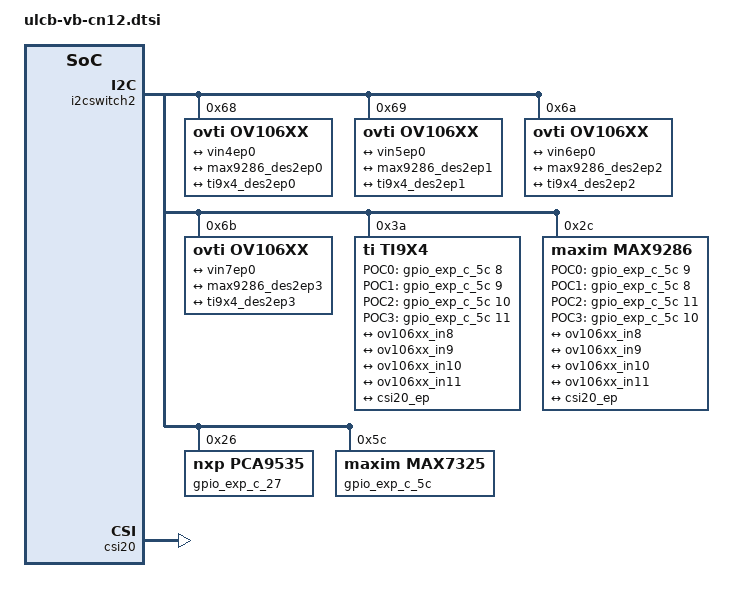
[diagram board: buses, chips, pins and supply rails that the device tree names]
/*
 * Device Tree Source for the H3ULCB Videobox board:
 *  this adding conflicting resource on VIN4/VIN5/VIN6/VIN7 for CN12
 *
 * Copyright (C) 2017 Renesas Electronics Corp.
 * Copyright (C) 2017 Cogent Embedded, Inc.
 *
 * This file is licensed under the terms of the GNU General Public License
 * version 2.  This program is licensed "as is" without any warranty of any
 * kind, whether express or implied.
 */

&i2cswitch2 {
	i2c@3 {
		#address-cells = <1>;
		#size-cells = <0>;
		reg = <3>;
		/* Slot C (CN12) */

		ov106xx@8 {
			compatible = "ovti,ov106xx";
			reg = <0x68>;

			port@0 {
				ov106xx_in8: endpoint {
					clock-lanes = <0>;
					data-lanes = <1 2>;
					remote-endpoint = <&vin4ep0>;
				};
			};
			port@1 {
				ov106xx_max9286_des2ep0: endpoint@0 {
					remote-endpoint = <&max9286_des2ep0>;
				};
				ov106xx_ti9x4_des2ep0: endpoint@1 {
					remote-endpoint = <&ti9x4_des2ep0>;
				};
			};
		};

		ov106xx@9 {
			compatible = "ovti,ov106xx";
			reg = <0x69>;

			port@0 {
				ov106xx_in9: endpoint {
					clock-lanes = <0>;
					data-lanes = <1 2>;
					remote-endpoint = <&vin5ep0>;
				};
			};
			port@1 {
				ov106xx_max9286_des2ep1: endpoint@0 {
					remote-endpoint = <&max9286_des2ep1>;
				};
				ov106xx_ti9x4_des2ep1: endpoint@1 {
					remote-endpoint = <&ti9x4_des2ep1>;
				};
			};
		};

		ov106xx@10 {
			compatible = "ovti,ov106xx";
			reg = <0x6a>;

			port@0 {
				ov106xx_in10: endpoint {
					clock-lanes = <0>;
					data-lanes = <1 2>;
					remote-endpoint = <&vin6ep0>;
				};
			};
			port@1 {
				ov106xx_max9286_des2ep2: endpoint@0 {
					remote-endpoint = <&max9286_des2ep2>;
				};
				ov106xx_ti9x4_des2ep2: endpoint@1 {
					remote-endpoint = <&ti9x4_des2ep2>;
				};
			};
		};

		ov106xx@11 {
			compatible = "ovti,ov106xx";
			reg = <0x6b>;

			port@0 {
				ov106xx_in11: endpoint {
					clock-lanes = <0>;
					data-lanes = <1 2>;
					remote-endpoint = <&vin7ep0>;
				};
			};
			port@1 {
				ov106xx_max9286_des2ep3: endpoint@0 {
					remote-endpoint = <&max9286_des2ep3>;
				};
				ov106xx_ti9x4_des2ep3: endpoint@1 {
					remote-endpoint = <&ti9x4_des2ep3>;
				};
			};
		};

		/* DS90UB9x4 @ 0x3a */
		ti9x4@2 {
			compatible = "ti,ti9x4";
			reg = <0x3a>;
			ti,sensor_delay = <350>;
			ti,links = <4>;
			ti,lanes = <2>;
			ti,forwarding-mode = "round-robin";
			ti,cable-mode = "coax";

			POC0-gpios = <&gpio_exp_c_5c 8 GPIO_ACTIVE_HIGH>;
			POC1-gpios = <&gpio_exp_c_5c 9 GPIO_ACTIVE_HIGH>;
			POC2-gpios = <&gpio_exp_c_5c 10 GPIO_ACTIVE_HIGH>;
			POC3-gpios = <&gpio_exp_c_5c 11 GPIO_ACTIVE_HIGH>;

			port@0 {
				ti9x4_des2ep0: endpoint@0 {
					ti9x3-addr = <0x0c>;
					dvp-order = <0>;
					remote-endpoint = <&ov106xx_in8>;
				};
				ti9x4_des2ep1: endpoint@1 {
					ti9x3-addr = <0x0d>;
					dvp-order = <0>;
					remote-endpoint = <&ov106xx_in9>;
				};
				ti9x4_des2ep2: endpoint@2 {
					ti9x3-addr = <0x0e>;
					dvp-order = <0>;
					remote-endpoint = <&ov106xx_in10>;
				};
				ti9x4_des2ep3: endpoint@3 {
					ti9x3-addr = <0x0f>;
					dvp-order = <0>;
					remote-endpoint = <&ov106xx_in11>;
				};
			};
			port@1 {
				ti9x4_csi1ep0: endpoint {
					csi-rate = <1450>;
					remote-endpoint = <&csi20_ep>;
				};
			};
		};

		/* MAX9286 @ 0x2c */
		max9286@2 {
			compatible = "maxim,max9286";
			reg = <0x2c>;
			maxim,sensor_delay = <350>;
			maxim,links = <4>;
			maxim,lanes = <2>;
			maxim,resetb-gpio = <1>;
			maxim,fsync-mode = "automatic";
			maxim,timeout = <100>;

			POC0-gpios = <&gpio_exp_c_5c 9 GPIO_ACTIVE_HIGH>;
			POC1-gpios = <&gpio_exp_c_5c 8 GPIO_ACTIVE_HIGH>;
			POC2-gpios = <&gpio_exp_c_5c 11 GPIO_ACTIVE_HIGH>;
			POC3-gpios = <&gpio_exp_c_5c 10 GPIO_ACTIVE_HIGH>;

			port@0 {
				max9286_des2ep0: endpoint@0 {
					max9271-addr = <0x50>;
					dvp-order = <1>;
					remote-endpoint = <&ov106xx_in8>;
				};
				max9286_des2ep1: endpoint@1 {
					max9271-addr = <0x51>;
					dvp-order = <1>;
					remote-endpoint = <&ov106xx_in9>;
				};
				max9286_des2ep2: endpoint@2 {
					max9271-addr = <0x52>;
					dvp-order = <1>;
					remote-endpoint = <&ov106xx_in10>;
				};
				max9286_des2ep3: endpoint@3 {
					max9271-addr = <0x53>;
					dvp-order = <1>;
					remote-endpoint = <&ov106xx_in11>;
				};
			};
			port@1 {
				max9286_csi1ep0: endpoint {
					csi-rate = <700>;
					remote-endpoint = <&csi20_ep>;
				};
			};
		};
	};

	i2c@4 {
		#address-cells = <1>;
		#size-cells = <0>;
		reg = <4>;
		/* Slot C (CN12) */

		/* PCA9535 is a redundand/deprecated card */
		gpio_exp_c_27: gpio@27 {
			compatible = "nxp,pca9535";
			reg = <0x26>;
			gpio-controller;
			#gpio-cells = <2>;

			video_c_des_cfg1 {
				gpio-hog;
				gpios = <5 GPIO_ACTIVE_HIGH>;
				input;
				line-name = "Video-C cfg1";
			};
			video_c_des_cfg0 {
				gpio-hog;
				gpios = <6 GPIO_ACTIVE_HIGH>;
				input;
				line-name = "Video-C cfg0";
			};
			video_c_pwr_shdn {
				gpio-hog;
				gpios = <3 GPIO_ACTIVE_HIGH>;
				output-high;
				line-name = "Video-C PWR_SHDN";
			};
			video_c_cam_pwr0 {
				gpio-hog;
				gpios = <12 GPIO_ACTIVE_HIGH>;
				output-high;
				line-name = "Video-C PWR0";
			};
			video_c_cam_pwr1 {
				gpio-hog;
				gpios = <13 GPIO_ACTIVE_HIGH>;
				output-high;
				line-name = "Video-C PWR1";
			};
			video_c_cam_pwr2 {
				gpio-hog;
				gpios = <14 GPIO_ACTIVE_HIGH>;
				output-high;
				line-name = "Video-C PWR2";
			};
			video_c_cam_pwr3 {
				gpio-hog;
				gpios = <15 GPIO_ACTIVE_HIGH>;
				output-high;
				line-name = "Video-C PWR3";
			};
			video_c_des_shdn {
				gpio-hog;
				gpios = <4 GPIO_ACTIVE_HIGH>;
				output-high;
				line-name = "Video-C DES_SHDN";
			};
			video_c_des_led {
				gpio-hog;
				gpios = <7 GPIO_ACTIVE_HIGH>;
				output-low;
				line-name = "Video-C led";
			};
		};

		gpio_exp_c_5c: gpio@5c {
			compatible = "maxim,max7325";
			reg = <0x5c>;
			gpio-controller;
			#gpio-cells = <2>;

			video_c_des_cfg2 {
				gpio-hog;
				gpios = <4 GPIO_ACTIVE_HIGH>;
				input;
				line-name = "Video-C cfg2";
			};
			video_c_des_cfg1 {
				gpio-hog;
				gpios = <6 GPIO_ACTIVE_HIGH>;
				input;
				line-name = "Video-C cfg1";
			};
			video_c_des_cfg0 {
				gpio-hog;
				gpios = <7 GPIO_ACTIVE_HIGH>;
				input;
				line-name = "Video-C cfg0";
			};
			video_c_pwr_shdn {
				gpio-hog;
				gpios = <14 GPIO_ACTIVE_HIGH>;
				output-high;
				line-name = "Video-C PWR_SHDN";
			};
			video_c_des_shdn {
				gpio-hog;
				gpios = <13 GPIO_ACTIVE_HIGH>;
				output-high;
				line-name = "Video-C DES_SHDN";
			};
			video_c_led {
				gpio-hog;
				gpios = <12 GPIO_ACTIVE_HIGH>;
				output-low;
				line-name = "Video-C LED";
			};
		};
	};
};

&vin4 {
	ports {
		#address-cells = <1>;
		#size-cells = <0>;

		port@0 {
			vin4ep0: endpoint {
				csi,select = "csi20";
				virtual,channel = <0>;
				remote-endpoint = <&ov106xx_in8>;
				data-lanes = <1 2>;
			};
		};
		port@1 {
			csi2ep0: endpoint {
				remote-endpoint = <&csi20_ep>;
			};
		};
		port@2 {
			vin4_max9286_des2ep0: endpoint@0 {
				remote-endpoint = <&max9286_des2ep0>;
			};
			vin4_ti9x4_des2ep0: endpoint@1 {
				remote-endpoint = <&ti9x4_des2ep0>;
			};
		};
	};
};

&vin5 {
	ports {
		#address-cells = <1>;
		#size-cells = <0>;

		port@0 {
			vin5ep0: endpoint@0 {
				csi,select = "csi20";
				virtual,channel = <1>;
				remote-endpoint = <&ov106xx_in9>;
				data-lanes = <1 2>;
			};
		};
		port@1 {
			csi2ep1: endpoint {
				remote-endpoint = <&csi20_ep>;
			};
		};
		port@2 {
			vin5_max9286_des2ep1: endpoint@0 {
				remote-endpoint = <&max9286_des2ep1>;
			};
			vin5_ti9x4_des2ep1: endpoint@1 {
				remote-endpoint = <&ti9x4_des2ep1>;
			};
		};
	};
};

&vin6 {
	ports {
		#address-cells = <1>;
		#size-cells = <0>;

		port@0 {
			vin6ep0: endpoint@0 {
				csi,select = "csi20";
				virtual,channel = <2>;
				remote-endpoint = <&ov106xx_in10>;
				data-lanes = <1 2>;
			};
		};
		port@1 {
			csi2ep2: endpoint {
				remote-endpoint = <&csi20_ep>;
			};
		};
		port@2 {
			vin6_max9286_des2ep2: endpoint@0 {
				remote-endpoint = <&max9286_des2ep2>;
			};
			vin6_ti9x4_des2ep2: endpoint@1 {
				remote-endpoint = <&ti9x4_des2ep2>;
			};
		};
	};
};

&vin7 {
	ports {
		#address-cells = <1>;
		#size-cells = <0>;

		port@0 {
			vin7ep0: endpoint@0 {
				csi,select = "csi20";
				virtual,channel = <3>;
				remote-endpoint = <&ov106xx_in11>;
				data-lanes = <1 2>;
			};
		};
		port@1 {
			csi2ep3: endpoint {
				remote-endpoint = <&csi20_ep>;
			};
		};
		port@2 {
			vin7_max9286_des2ep3: endpoint@0 {
				remote-endpoint = <&max9286_des2ep3>;
			};
			vin7_ti9x4_des2ep3: endpoint@1 {
				remote-endpoint = <&ti9x4_des2ep3>;
			};
		};
	};
};

&csi20 {
	status = "okay";

	virtual,channel {
		csi2_vc0 {
			data,type = "ycbcr422";
			receive,vc = <0>;
		};
		csi2_vc1 {
			data,type = "ycbcr422";
			receive,vc = <1>;
		};
		csi2_vc2 {
			data,type = "ycbcr422";
			receive,vc = <2>;
		};
		csi2_vc3 {
			data,type = "ycbcr422";
			receive,vc = <3>;
		};
	};

	port {
		#address-cells = <1>;
		#size-cells = <0>;

		csi20_ep: endpoint {
			clock-lanes = <0>;
			data-lanes = <1 2>;
			csi-rate = <300>;
		};
	};
};
